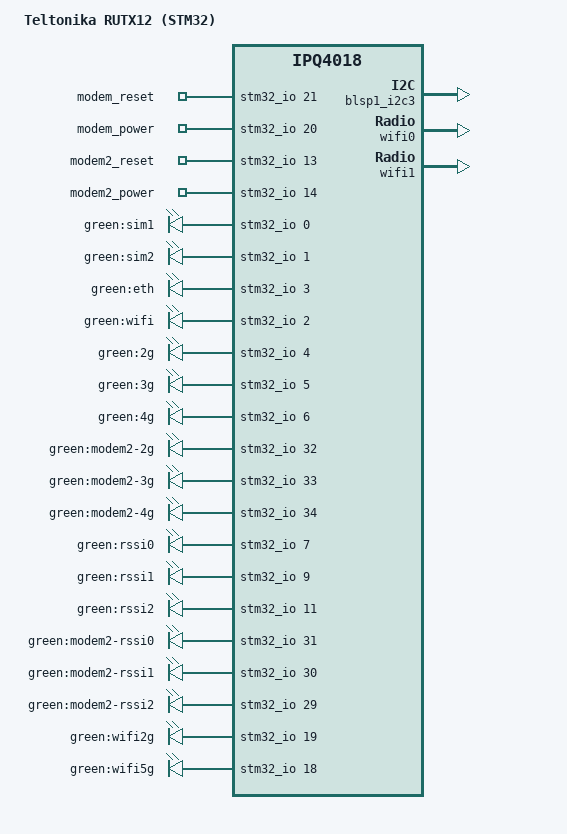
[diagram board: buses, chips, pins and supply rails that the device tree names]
// SPDX-License-Identifier: GPL-2.0-or-later OR MIT

#include "qcom-ipq4018-rutx-dsa.dtsi"

/ {
	model = "Teltonika RUTX12 (STM32)";
	compatible = "teltonika,rutx12-stm32";

	aliases {
		led-boot = &led_rssi0;
		led-failsafe = &led_rssi0;
		led-running = &led_rssi0;
		led-upgrade = &led_rssi0;
	};

	soc {
		gpio-export {
			compatible = "gpio-export";

			modem_reset {
				gpio-export,name = "modem_reset";
				gpio-export,output = <0>;
				gpios = <&stm32_io 21 GPIO_ACTIVE_HIGH>;
			};

			modem_power {
				gpio-export,name = "modem_power";
				gpio-export,output = <1>;
				gpios = <&stm32_io 20 GPIO_ACTIVE_HIGH>;
			};

			modem2_reset {
				gpio-export,name = "modem2_reset";
				gpio-export,output = <0>;
				gpios = <&stm32_io 13 GPIO_ACTIVE_HIGH>;
			};

			modem2_power {
				gpio-export,name = "modem2_power";
				gpio-export,output = <1>;
				gpios = <&stm32_io 14 GPIO_ACTIVE_HIGH>;
			};
		};

		leds {
			compatible = "gpio-leds";

			led-0 {
				label = "green:sim1";
				gpios = <&stm32_io 0 GPIO_ACTIVE_HIGH>;
			};

			led-1 {
				label = "green:sim2";
				gpios = <&stm32_io 1 GPIO_ACTIVE_HIGH>;
			};

			led-2 {
				label = "green:eth";
				gpios = <&stm32_io 3 GPIO_ACTIVE_HIGH>;
			};

			led-3 {
				label = "green:wifi";
				gpios = <&stm32_io 2 GPIO_ACTIVE_HIGH>;
			};

			led-4 {
				label = "green:2g";
				gpios = <&stm32_io 4 GPIO_ACTIVE_HIGH>;
			};

			led-5 {
				label = "green:3g";
				gpios = <&stm32_io 5 GPIO_ACTIVE_HIGH>;
			};

			led-6 {
				label = "green:4g";
				gpios = <&stm32_io 6 GPIO_ACTIVE_HIGH>;
			};

			led-7 {
				label = "green:modem2-2g";
				gpios = <&stm32_io 32 GPIO_ACTIVE_HIGH>;
			};

			led-8 {
				label = "green:modem2-3g";
				gpios = <&stm32_io 33 GPIO_ACTIVE_HIGH>;
			};

			led-9 {
				label = "green:modem2-4g";
				gpios = <&stm32_io 34 GPIO_ACTIVE_HIGH>;
			};

			led_rssi0: led-10 {
				label = "green:rssi0";
				gpios = <&stm32_io 7 GPIO_ACTIVE_HIGH>;
			};

			led-11 {
				label = "green:rssi1";
				gpios = <&stm32_io 9 GPIO_ACTIVE_HIGH>;
			};

			led-12 {
				label = "green:rssi2";
				gpios = <&stm32_io 11 GPIO_ACTIVE_HIGH>;
			};

			led-13 {
				label = "green:modem2-rssi0";
				gpios = <&stm32_io 31 GPIO_ACTIVE_HIGH>;
			};

			led-14 {
				label = "green:modem2-rssi1";
				gpios = <&stm32_io 30 GPIO_ACTIVE_HIGH>;
			};

			led-15 {
				label = "green:modem2-rssi2";
				gpios = <&stm32_io 29 GPIO_ACTIVE_HIGH>;
			};

			led-16 {
				label = "green:wifi2g";
				gpios = <&stm32_io 19 GPIO_ACTIVE_HIGH>;
				linux,default-trigger = "phy0tpt";
			};

			led-17 {
				label = "green:wifi5g";
				gpios = <&stm32_io 18 GPIO_ACTIVE_HIGH>;
				linux,default-trigger = "phy1tpt";
			};
		};
	};
};

&blsp1_i2c3 {
	status = "okay";
};

&wifi0 {
	status = "okay";
	qcom,ath10k-calibration-variant = "Teltonika-RUTX10";
};

&wifi1 {
	status = "okay";
	qcom,ath10k-calibration-variant = "Teltonika-RUTX10";
};
